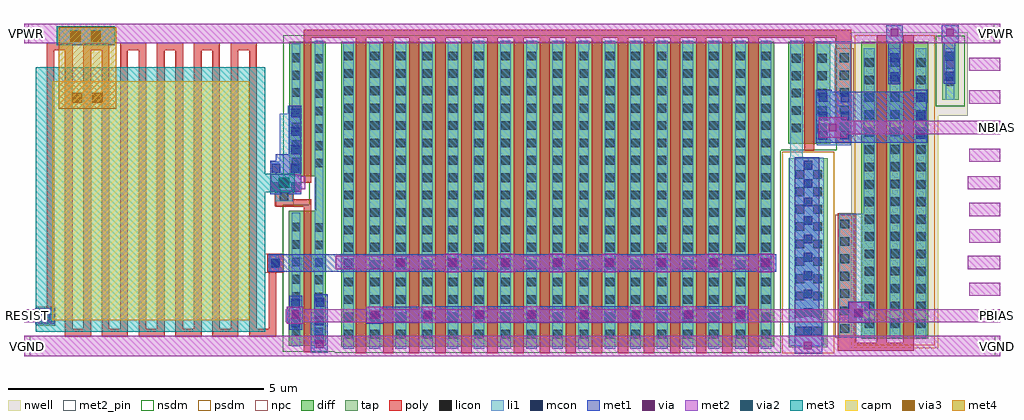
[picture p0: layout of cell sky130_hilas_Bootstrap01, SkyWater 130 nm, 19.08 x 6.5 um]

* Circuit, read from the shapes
.subckt sky130_hilas_Bootstrap01 NBIAS PBIAS RESIST VGND VPWR
XM1 VGND n1 PBIAS VGND sky130_fd_pr__nfet_01v8 w=2.63 l=0.15
XM2 VGND NBIAS n1 VGND sky130_fd_pr__nfet_01v8 w=2.63 l=0.15
XM3 PBIAS NBIAS RESIST VGND sky130_fd_pr__nfet_01v8 w=5.96 l=0.2 m=16
XM4 NBIAS NBIAS VGND VGND sky130_fd_pr__nfet_01v8 w=2 l=0.2
XM5 VPWR PBIAS PBIAS VPWR sky130_fd_pr__pfet_01v8 w=5.81 l=0.2
XM6 NBIAS PBIAS VPWR VPWR sky130_fd_pr__pfet_01v8 w=5.81 l=0.2
XC7 VPWR n1 sky130_fd_pr__cap_mim_m3_1 w=3.85 l=4.68
.ends

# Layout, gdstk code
import gdstk
lib = gdstk.Library(unit=1e-6, precision=1e-09)
def R(c, l, rs):  # rectangles x0, y0, x1, y1
    for r in rs: c.add(gdstk.rectangle(r[:2], r[2:], *l))
def A(c, l, x, y, w, h, nx, ny, dx, dy):  # array of equal rectangles
    R(c, l, [(x+i*dx, y+j*dy, x+i*dx+w, y+j*dy+h) for i in range(nx) for j in range(ny)])
nwell = (64, 20)
diff = (65, 20)
tap = (65, 44)
poly = (66, 20)
licon = (66, 44)
li1 = (67, 20)
mcon = (67, 44)
met1 = (68, 20)
via = (68, 44)
met2_pin = (69, 16)
met2 = (69, 20)
via2 = (69, 44)
met3 = (70, 20)
via3 = (70, 44)
met4 = (71, 20)
capm = (89, 44)
nsdm = (93, 44)
psdm = (94, 20)
npc = (95, 20)

sky130_hilas_bootstrap01 = lib.new_cell('sky130_hilas_Bootstrap01')
R(sky130_hilas_bootstrap01, nwell, [(6.32,-6.17,8.03,-4.15), (6.33,-4.15,8.03,-1.63), (6.33,-1.63,8.61,0)])
R(sky130_hilas_bootstrap01, diff, [(-3.64,-6.14,4.83,-0.18), (-4.66,-6.12,-3.94,-3.49), (6.53,-5.99,7.84,-0.18), (-4.14,-3.49,-3.94,-2.81), (-4.65,-2.81,-3.94,-0.18), (5.1,-2.18,5.92,-0.18)])
R(sky130_hilas_bootstrap01, tap, [(5.11,-6.15,5.87,-2.46), (8.11,-1.32,8.43,-0.19)])
A(sky130_hilas_bootstrap01, poly, -2.82, -6.27, 0.2, 6.17, 15, 1, 0.51, 0)
A(sky130_hilas_bootstrap01, poly, -9.04, -5.95, 0.51, 0.16, 5, 1, 0.72, 0)
A(sky130_hilas_bootstrap01, poly, -9.04, -5.79, 0.15, 5.44, 11, 1, 0.36, 0)
A(sky130_hilas_bootstrap01, poly, -9.4, -0.35, 0.51, 0.15, 6, 1, 0.72, 0)
R(sky130_hilas_bootstrap01, poly, [(-3.35,-6.27,-3.15,-0.1), (-4.37,-6.25,-4.22,-3.41), (6.07,-6.22,7.55,-6.07), (6.07,-6.07,6.43,-3.53), (6.83,-6.07,7.03,-0.05), (7.35,-6.07,7.55,-0.05), (-5.44,-5.95,-4.91,-5.79), (-5.06,-5.79,-4.91,-4.69), (-9.58,-5.68,-9.25,-5.41), (-9.4,-5.41,-9.25,-0.35), (-5.08,-4.69,-4.77,-4.34), (-4.92,-3.41,-4.22,-3.26), (-4.92,-3.26,-4.58,-3.08), (-4.37,-2.94,-4.22,-0.1), (5.41,-2.31,5.61,-0.1), (6.02,-2.17,6.33,-0.1), (-4.37,-0.1,6.33,0.05)])
A(sky130_hilas_bootstrap01, licon, -3.58, -5.985, 0.17, 0.17, 3, 17, 0.51, 0.34)
A(sky130_hilas_bootstrap01, licon, -2.04, -5.985, 0.17, 0.17, 1, 17, 0, 0.34)
A(sky130_hilas_bootstrap01, licon, -1.54, -5.985, 0.17, 0.17, 1, 17, 0, 0.34)
A(sky130_hilas_bootstrap01, licon, -1.03, -5.985, 0.17, 0.17, 1, 17, 0, 0.34)
A(sky130_hilas_bootstrap01, licon, -0.51, -5.985, 0.17, 0.17, 5, 17, 0.51, 0.34)
A(sky130_hilas_bootstrap01, licon, 2.03, -5.985, 0.17, 0.17, 1, 17, 0, 0.34)
A(sky130_hilas_bootstrap01, licon, 2.55, -5.985, 0.17, 0.17, 1, 17, 0, 0.34)
A(sky130_hilas_bootstrap01, licon, 3.05, -5.985, 0.17, 0.17, 1, 17, 0, 0.34)
A(sky130_hilas_bootstrap01, licon, 3.56, -5.985, 0.17, 0.17, 1, 17, 0, 0.34)
A(sky130_hilas_bootstrap01, licon, 4.08, -5.985, 0.17, 0.17, 1, 17, 0, 0.34)
A(sky130_hilas_bootstrap01, licon, 4.58, -5.985, 0.17, 0.17, 1, 17, 0, 0.34)
A(sky130_hilas_bootstrap01, licon, -4.16, -5.94, 0.17, 0.17, 1, 7, 0, 0.34)
A(sky130_hilas_bootstrap01, licon, -4.61, -5.93, 0.17, 0.17, 1, 7, 0, 0.34)
A(sky130_hilas_bootstrap01, licon, 5.245, -5.92, 0.17, 0.17, 1, 10, 0, 0.34)
A(sky130_hilas_bootstrap01, licon, 5.585, -5.92, 0.17, 0.17, 1, 10, 0, 0.34)
A(sky130_hilas_bootstrap01, licon, 6.12, -5.87, 0.17, 0.17, 1, 7, 0, 0.34)
A(sky130_hilas_bootstrap01, licon, 6.6, -5.775, 0.17, 0.17, 1, 16, 0, 0.34)
A(sky130_hilas_bootstrap01, licon, 7.61, -5.775, 0.17, 0.17, 1, 16, 0, 0.34)
A(sky130_hilas_bootstrap01, licon, 7.1, -5.77, 0.17, 0.17, 1, 16, 0, 0.34)
A(sky130_hilas_bootstrap01, licon, -4.16, -2.64, 0.17, 0.17, 1, 7, 0, 0.34)
A(sky130_hilas_bootstrap01, licon, -4.61, -2.62, 0.17, 0.17, 1, 7, 0, 0.34)
A(sky130_hilas_bootstrap01, licon, 5.17, -1.95, 0.17, 0.17, 1, 5, 0, 0.34)
A(sky130_hilas_bootstrap01, licon, 5.68, -1.95, 0.17, 0.17, 1, 5, 0, 0.34)
A(sky130_hilas_bootstrap01, licon, 6.11, -1.94, 0.17, 0.17, 1, 5, 0, 0.34)
R(sky130_hilas_bootstrap01, licon, [(-9.5,-5.63,-9.33,-5.46), (-5.03,-4.6,-4.86,-4.43), (-4.84,-3.3,-4.67,-3.13), (8.18,-1.045,8.35,-0.875), (8.18,-0.705,8.35,-0.535)])
A(sky130_hilas_bootstrap01, li1, -3.6, -6.18, 0.21, 6, 3, 1, 0.51, 0)
A(sky130_hilas_bootstrap01, li1, -0.02, -6.18, 0.2, 5.84, 3, 1, 0.51, 0)
A(sky130_hilas_bootstrap01, li1, -0.02, -0.34, 0.21, 0.18, 3, 1, 0.51, 0)
R(sky130_hilas_bootstrap01, li1, [(-2.06,-6.18,-1.85,-0.18), (-1.56,-6.18,-1.35,-0.18), (-1.05,-6.18,-0.84,-0.16), (-0.53,-6.18,-0.32,-0.16), (1.51,-6.18,1.72,-0.16), (2.01,-6.18,2.22,-0.16), (2.53,-6.18,2.74,-0.16), (3.03,-6.18,3.24,-0.16), (3.54,-6.18,3.75,-0.16), (4.06,-6.18,4.27,-0.16), (4.56,-6.18,4.77,-0.16), (-4.17,-6.17,-3.99,-6.08), (-4.61,-6.13,-4.44,-5.75), (5.12,-6.12,5.79,-2.45), (-4.17,-6.08,-3.98,-5.91), (6.1,-5.97,6.79,-3.54), (7.08,-5.97,7.29,-0.31), (7.59,-5.97,7.8,-0.31), (-4.17,-5.91,-3.99,-5.72), (-4.62,-5.75,-4.44,-5.58), (-4.17,-5.72,-3.98,-5.55), (-9.6,-5.66,-9.24,-5.43), (-4.61,-5.58,-4.44,-5.38), (-4.17,-5.55,-3.99,-5.36), (-4.62,-5.38,-4.44,-5.21), (-4.17,-5.36,-3.97,-5.19), (-4.61,-5.21,-4.44,-3.52), (-4.17,-5.19,-3.99,-4.68), (-5.03,-4.68,-4.86,-4.59), (-4.16,-4.68,-3.99,-0.16), (-5.03,-4.59,-4.84,-4.42), (-5.03,-4.42,-4.86,-4.35), (6.58,-3.54,6.79,-0.31), (-4.92,-3.3,-4.59,-3.16), (-4.92,-3.16,-4.42,-3.11), (-5.02,-3.11,-4.42,-2.96), (-5.03,-2.96,-4.42,-2.8), (-5.03,-2.8,-4.44,-2.53), (-4.84,-2.53,-4.44,-1.59), (5.14,-2.45,5.38,-0.16), (5.66,-2.21,6.32,-0.17), (-4.68,-1.59,-4.44,-1.43), (-4.61,-1.43,-4.44,-0.22), (8.18,-1.32,8.35,-0.94), (8.17,-0.94,8.35,-0.77), (8.18,-0.77,8.35,-0.55), (8.17,-0.55,8.35,-0.38), (8.18,-0.38,8.35,-0.31)])
A(sky130_hilas_bootstrap01, mcon, 5.4, -5.92, 0.17, 0.17, 1, 10, 0, 0.36)
A(sky130_hilas_bootstrap01, mcon, -0.52, -4.58, 0.17, 0.17, 4, 1, 1.02, 0)
A(sky130_hilas_bootstrap01, mcon, -4.62, -2.38, 0.17, 0.17, 1, 3, 0, 0.36)
R(sky130_hilas_bootstrap01, mcon, [(-4.15,-6.08,-3.98,-5.91), (-4.62,-5.75,-4.45,-5.58), (-4.15,-5.72,-3.98,-5.55), (-9.51,-5.64,-9.34,-5.47), (-3.06,-5.61,-2.89,-5.44), (-2.03,-5.61,-1.86,-5.44), (-1.02,-5.61,-0.85,-5.44), (0.01,-5.61,0.18,-5.44), (1.03,-5.61,1.2,-5.44), (2.04,-5.61,2.21,-5.44), (3.06,-5.61,3.23,-5.44), (4.09,-5.6,4.26,-5.43), (6.39,-5.57,6.56,-5.4), (-4.62,-5.38,-4.45,-5.21), (-4.14,-5.36,-3.97,-5.19), (-5.01,-4.59,-4.84,-4.42), (-3.59,-4.59,-3.42,-4.42), (-2.57,-4.58,-2.4,-4.41), (-1.55,-4.58,-1.38,-4.41), (3.55,-4.58,3.72,-4.41), (4.57,-4.58,4.74,-4.41), (-5,-3.1,-4.83,-2.93), (-4.62,-3.1,-4.45,-2.93), (-5,-2.74,-4.83,-2.57), (-4.63,-2.74,-4.46,-2.57), (5.69,-2.1,5.86,-1.93), (6.12,-2.09,6.29,-1.92), (7.605,-2.08,7.775,-1.91), (5.695,-1.72,5.865,-1.55), (6.125,-1.72,6.295,-1.55), (7.605,-1.72,7.775,-1.55), (6.125,-1.36,6.295,-1.19), (5.695,-1.35,5.865,-1.18), (7.605,-1.35,7.775,-1.18), (7.09,-0.95,7.26,-0.78), (8.17,-0.94,8.34,-0.77), (7.09,-0.58,7.26,-0.41), (8.17,-0.55,8.34,-0.38)])
R(sky130_hilas_bootstrap01, met1, [(5.23,-6.28,5.77,-5.61), (-4.23,-6.26,-3.9,-5.47), (-4.65,-5.81,-4.4,-5.68), (-9.62,-5.7,-9.24,-5.39), (-3.15,-5.69,-2.82,-5.68), (-4.69,-5.68,-4.39,-5.36), (-3.15,-5.68,4.32,-5.36), (6.27,-5.68,6.69,-5.26), (5.23,-5.61,5.71,-2.44), (-4.17,-5.47,-3.9,-5.12), (-4.65,-5.36,-4.4,-5.15), (-1.79,-5.36,4.32,-5.35), (-5.06,-4.68,4.87,-4.34), (-5.03,-3.16,-4.8,-3.13), (-4.66,-3.16,-4.42,-3.13), (-5.03,-3.13,-4.42,-2.51), (-4.92,-2.51,-4.42,-2.38), (-4.66,-2.38,-4.42,-1.43), (5.64,-2.16,7.82,-1.83), (5.64,-1.83,7.81,-1.36), (5.64,-1.36,7.82,-1.16), (5.64,-1.16,5.95,-1.12), (7.49,-1.16,7.82,-1.12), (7.06,-1.01,7.29,-0.18), (8.14,-1,8.37,-0.19), (8.1,-0.19,8.43,0.14), (7.02,-0.18,7.34,0.14)])
A(sky130_hilas_bootstrap01, via, 1.035, -5.585, 0.15, 0.15, 4, 1, 1.02, 0)
A(sky130_hilas_bootstrap01, via, -1.525, -4.575, 0.15, 0.15, 3, 1, 1.02, 0)
A(sky130_hilas_bootstrap01, via, 2.555, -4.575, 0.15, 0.15, 3, 1, 1.02, 0)
R(sky130_hilas_bootstrap01, via, [(5.405,-6.195,5.555,-6.045), (-4.135,-6.165,-3.985,-6.015), (-9.505,-5.615,-9.355,-5.465), (-4.605,-5.595,-4.455,-5.445), (-3.065,-5.595,-2.915,-5.445), (-2.025,-5.595,-1.875,-5.445), (-1.015,-5.585,-0.865,-5.435), (0.005,-5.585,0.155,-5.435), (6.405,-5.555,6.555,-5.405), (-2.545,-4.585,-2.395,-4.435), (1.545,-4.575,1.695,-4.425), (-4.835,-3.015,-4.685,-2.865), (5.895,-1.935,6.045,-1.785), (7.105,-0.075,7.255,0.075), (8.185,-0.075,8.335,0.075)])
R(sky130_hilas_bootstrap01, met2_pin, [(-9.84,-6.33,-9.72,-5.93), (9.14,-6.33,9.24,-5.93), (-9.84,-5.67,-9.72,-5.41), (9.16,-5.67,9.24,-5.41), (9.15,-1.99,9.24,-1.73), (-9.84,-0.21,-9.75,0.17), (9.12,-0.21,9.24,0.17)])
A(sky130_hilas_bootstrap01, met2, -1.09, -5.41, 0.31, 0.06, 3, 1, 1.02, 0)
A(sky130_hilas_bootstrap01, met2, 2.47, -4.69, 0.34, 0.06, 3, 1, 1.01, 0)
A(sky130_hilas_bootstrap01, met2, 2.47, -4.37, 0.34, 0.04, 3, 1, 1.01, 0)
R(sky130_hilas_bootstrap01, met2, [(-9.84,-6.33,9.24,-5.93), (-4.7,-5.69,-4.38,-5.67), (-9.61,-5.68,-9.25,-5.67), (-3.15,-5.68,-2.83,-5.67), (-2.11,-5.68,-1.79,-5.67), (-1.09,-5.68,-0.78,-5.67), (4.01,-5.68,4.32,-5.67), (-9.84,-5.67,-9.25,-5.41), (-4.72,-5.67,9.24,-5.41), (-9.61,-5.41,-9.25,-5.4), (-4.7,-5.41,-4.38,-5.36), (-3.15,-5.41,-2.83,-5.36), (-2.11,-5.41,-1.79,-5.36), (1.97,-5.41,2.29,-5.35), (2.99,-5.41,3.3,-5.35), (4.01,-5.41,4.32,-5.35), (6.29,-5.41,6.67,-5.27), (8.64,-5.15,9.24,-4.89), (-1.62,-4.69,-1.28,-4.63), (-0.59,-4.69,-0.25,-4.63), (0.42,-4.69,0.76,-4.63), (1.45,-4.69,1.79,-4.63), (-2.63,-4.67,-2.32,-4.63), (-3.75,-4.63,4.83,-4.37), (8.61,-4.63,9.24,-4.37), (-1.62,-4.37,-1.28,-4.33), (-0.59,-4.37,-0.25,-4.33), (0.42,-4.37,0.76,-4.33), (1.45,-4.37,1.79,-4.33), (8.64,-4.11,9.24,-3.85), (8.64,-3.59,9.24,-3.33), (-5.01,-3.12,-4.42,-3.07), (-5.01,-3.07,-4.34,-2.81), (8.61,-3.07,9.24,-2.81), (-5.01,-2.81,-4.42,-2.77), (8.64,-2.53,9.24,-2.27), (5.7,-2.06,6.24,-1.99), (5.7,-1.99,9.24,-1.73), (5.7,-1.73,6.24,-1.66), (8.64,-1.39,9.24,-1.13), (8.64,-0.75,9.24,-0.49), (-9.2,-0.23,-8.07,-0.21), (-9.84,-0.21,9.24,0.17)])
R(sky130_hilas_bootstrap01, via2, [(-4.855,-3.04,-4.655,-2.84), (-8.935,-0.155,-8.735,0.045), (-8.535,-0.155,-8.335,0.045)])
R(sky130_hilas_bootstrap01, met3, [(-9.61,-5.85,-5.12,-3.12), (-9.61,-3.12,-4.55,-2.76), (-9.61,-2.76,-5.12,-0.68), (-9.2,-0.25,-8.07,0.12)])
R(sky130_hilas_bootstrap01, via3, [(-8.905,-1.375,-8.705,-1.175), (-8.505,-1.375,-8.305,-1.175), (-8.935,-0.18,-8.735,0.02), (-8.535,-0.18,-8.335,0.02)])
R(sky130_hilas_bootstrap01, met4, [(-9.16,-1.49,-8.04,0.1)])
R(sky130_hilas_bootstrap01, capm, [(-9.29,-5.63,-5.44,-0.95)])
R(sky130_hilas_bootstrap01, nsdm, [(-3.765,-6.265,4.955,-6.245), (-4.785,-6.245,4.955,-3.365), (-4.265,-3.365,4.955,-2.935), (-4.775,-2.935,4.955,-2.305), (-4.775,-2.305,6.045,-0.055), (7.985,-1.445,8.555,-0.065)])
R(sky130_hilas_bootstrap01, psdm, [(4.985,-6.275,5.995,-2.335), (6.405,-6.115,7.965,-0.055)])
R(sky130_hilas_bootstrap01, npc, [(6.02,-5.97,6.39,-3.56), (-9.6,-5.73,-9.23,-5.36), (-5.13,-4.7,-4.76,-4.33), (-4.94,-3.4,-4.57,-3.03), (6.01,-2.04,6.38,-0.31)])
sky130_hilas_bootstrap01.add(gdstk.Label('VPWR', (9.18,-0.02), layer=69, texttype=16))
sky130_hilas_bootstrap01.add(gdstk.Label('VPWR', (-9.795,-0.02), layer=69, texttype=16))
sky130_hilas_bootstrap01.add(gdstk.Label('VGND', (9.19,-6.13), layer=69, texttype=16))
sky130_hilas_bootstrap01.add(gdstk.Label('VGND', (-9.78,-6.13), layer=69, texttype=16))
sky130_hilas_bootstrap01.add(gdstk.Label('PBIAS', (9.2,-5.54), layer=69, texttype=16))
sky130_hilas_bootstrap01.add(gdstk.Label('NBIAS', (9.195,-1.86), layer=69, texttype=16))
sky130_hilas_bootstrap01.add(gdstk.Label('RESIST', (-9.78,-5.54), layer=69, texttype=16))

lib.write_gds('sky130_hilas_Bootstrap01.gds')
